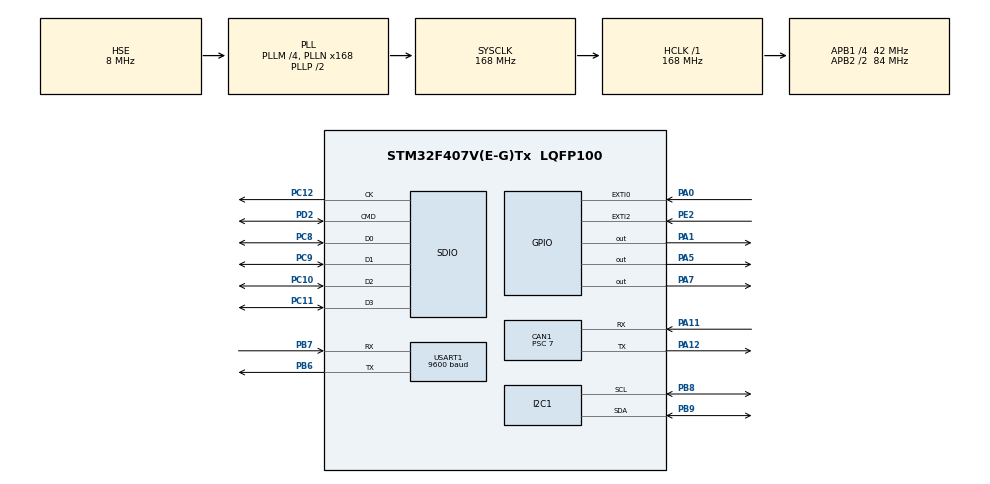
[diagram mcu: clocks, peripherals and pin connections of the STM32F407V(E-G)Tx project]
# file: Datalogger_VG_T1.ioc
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CAN1.BS1=CAN_BS1_5TQ
CAN1.BS2=CAN_BS2_6TQ
CAN1.CalculateBaudRate=500000
CAN1.CalculateTimeBit=1999.99
CAN1.CalculateTimeQuantum=166.66666666666669
CAN1.Prescaler=7
Dma.Request0=SDIO_RX
Dma.Request1=SDIO_TX
Dma.SDIO_RX.0.Direction=DMA_PERIPH_TO_MEMORY
Dma.SDIO_RX.0.FIFOMode=DMA_FIFOMODE_ENABLE
Dma.SDIO_RX.0.FIFOThreshold=DMA_FIFO_THRESHOLD_FULL
Dma.SDIO_RX.0.Instance=DMA2_Stream3
Dma.SDIO_RX.0.MemBurst=DMA_MBURST_INC4
Dma.SDIO_RX.0.MemDataAlignment=DMA_MDATAALIGN_WORD
Dma.SDIO_RX.0.MemInc=DMA_MINC_ENABLE
Dma.SDIO_RX.0.Mode=DMA_PFCTRL
Dma.SDIO_RX.0.PeriphBurst=DMA_PBURST_INC4
Dma.SDIO_RX.0.PeriphDataAlignment=DMA_PDATAALIGN_WORD
Dma.SDIO_RX.0.PeriphInc=DMA_PINC_DISABLE
Dma.SDIO_RX.0.Priority=DMA_PRIORITY_LOW
Dma.SDIO_TX.1.Direction=DMA_MEMORY_TO_PERIPH
Dma.SDIO_TX.1.FIFOMode=DMA_FIFOMODE_ENABLE
Dma.SDIO_TX.1.FIFOThreshold=DMA_FIFO_THRESHOLD_FULL
Dma.SDIO_TX.1.Instance=DMA2_Stream6
Dma.SDIO_TX.1.MemBurst=DMA_MBURST_INC4
Dma.SDIO_TX.1.MemDataAlignment=DMA_MDATAALIGN_WORD
Dma.SDIO_TX.1.MemInc=DMA_MINC_ENABLE
Dma.SDIO_TX.1.Mode=DMA_PFCTRL
Dma.SDIO_TX.1.PeriphBurst=DMA_PBURST_INC4
Dma.SDIO_TX.1.PeriphDataAlignment=DMA_PDATAALIGN_WORD
Dma.SDIO_TX.1.PeriphInc=DMA_PINC_DISABLE
Dma.SDIO_TX.1.Priority=DMA_PRIORITY_LOW
FATFS._MAX_SS=4096
Mcu.Family=STM32F4
Mcu.Name=STM32F407V(E-G)Tx
Mcu.Package=LQFP100
NVIC.CAN1_RX0_IRQn=true\:0\:0\:false\:false\:true\:true\:true
NVIC.DMA2_Stream3_IRQn=true\:0\:0\:false\:false\:true\:false\:true
NVIC.DMA2_Stream6_IRQn=true\:0\:0\:false\:false\:true\:false\:true
NVIC.EXTI0_IRQn=true\:2\:0\:true\:false\:true\:true\:true
NVIC.EXTI2_IRQn=true\:2\:0\:true\:false\:true\:true\:true
NVIC.PriorityGroup=NVIC_PRIORITYGROUP_4
NVIC.RTC_Alarm_IRQn=true\:0\:0\:false\:false\:true\:true\:true
NVIC.SDIO_IRQn=true\:0\:0\:false\:false\:true\:true\:true
NVIC.TIM2_IRQn=true\:0\:0\:false\:false\:true\:true\:true
NVIC.USART1_IRQn=true\:0\:0\:false\:false\:true\:true\:true
PA0-WKUP.GPIO_PuPd=GPIO_PULLUP
PA0-WKUP.Signal=GPXTI0
PA1.Signal=GPIO_Output
PA11.Mode=CAN_Activate
PA11.Signal=CAN1_RX
PA12.Mode=CAN_Activate
PA12.Signal=CAN1_TX
PA5.Signal=GPIO_Output
PA7.Signal=GPIO_Output
PB6.Mode=Asynchronous
PB6.Signal=USART1_TX
PB7.Mode=Asynchronous
PB7.Signal=USART1_RX
PB8.GPIO_Pu=GPIO_PULLUP
PB8.Mode=I2C
PB8.Signal=I2C1_SCL
PB9.GPIO_Pu=GPIO_PULLUP
PB9.Mode=I2C
PB9.Signal=I2C1_SDA
PC10.GPIO_PuPd=GPIO_PULLUP
PC10.Mode=SD_4_bits_Wide_bus
PC10.Signal=SDIO_D2
PC11.GPIO_PuPd=GPIO_PULLUP
PC11.Mode=SD_4_bits_Wide_bus
PC11.Signal=SDIO_D3
PC12.Mode=SD_4_bits_Wide_bus
PC12.Signal=SDIO_CK
PC14-OSC32_IN.Mode=LSE-External-Oscillator
PC14-OSC32_IN.Signal=RCC_OSC32_IN
PC15-OSC32_OUT.Mode=LSE-External-Oscillator
PC15-OSC32_OUT.Signal=RCC_OSC32_OUT
PC8.GPIO_PuPd=GPIO_PULLUP
PC8.Mode=SD_4_bits_Wide_bus
PC8.Signal=SDIO_D0
PC9.GPIO_PuPd=GPIO_PULLUP
PC9.Mode=SD_4_bits_Wide_bus
PC9.Signal=SDIO_D1
PD2.GPIO_PuPd=GPIO_PULLUP
PD2.Mode=SD_4_bits_Wide_bus
PD2.Signal=SDIO_CMD
PE2.GPIO_ModeDefaultEXTI=GPIO_MODE_IT_RISING_FALLING
PE2.GPIO_PuPd=GPIO_PULLUP
PE2.Signal=GPXTI2
PH0-OSC_IN.Mode=HSE-External-Oscillator
PH0-OSC_IN.Signal=RCC_OSC_IN
PH1-OSC_OUT.Mode=HSE-External-Oscillator
PH1-OSC_OUT.Signal=RCC_OSC_OUT
ProjectManager.HeapSize=0x200
ProjectManager.StackSize=0x400
ProjectManager.TargetToolchain=MDK-ARM V5.27
RCC.48MHZClocksFreq_Value=48000000
RCC.AHBFreq_Value=168000000
RCC.APB1CLKDivider=RCC_HCLK_DIV4
RCC.APB1Freq_Value=42000000
RCC.APB1TimFreq_Value=84000000
RCC.APB2CLKDivider=RCC_HCLK_DIV2
RCC.APB2Freq_Value=84000000
RCC.APB2TimFreq_Value=168000000
RCC.CortexFreq_Value=168000000
RCC.HCLKFreq_Value=168000000
RCC.HSE_VALUE=8000000
RCC.HSI_VALUE=16000000
RCC.PLLM=4
RCC.PLLN=168
RCC.PLLQ=7
RCC.PLLSourceVirtual=RCC_PLLSOURCE_HSE
RCC.SYSCLKFreq_VALUE=168000000
RCC.SYSCLKSource=RCC_SYSCLKSOURCE_PLLCLK
RCC.VCOOutputFreq_Value=336000000
RTC.Alarm=RTC_ALARM_A
RTC.Date=20
RTC.Hours=0
RTC.Hours_A=22
RTC.Minutes=0
RTC.Month=RTC_MONTH_MAY
RTC.WeekDay=RTC_WEEKDAY_THURSDAY
RTC.Year=20
TIM2.Period=1000
TIM2.Prescaler=42000
TIM2.TIM_MasterOutputTrigger=TIM_TRGO_UPDATE
USART1.BaudRate=9600
USART1.VirtualMode=VM_ASYNC
VP_FATFS_VS_SDIO.Mode=SDIO
VP_RTC_VS_RTC_Activate.Mode=RTC_Enabled
VP_RTC_VS_RTC_Alarm_A_Intern.Mode=Alarm A
VP_RTC_VS_RTC_Calendar.Mode=RTC_Calendar
VP_TIM2_VS_ClockSourceINT.Mode=Internal
board=custom

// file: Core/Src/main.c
/* USER CODE BEGIN Header */
/**
  ******************************************************************************
  * @file           : main.c
  * @brief          : Main program body
  ******************************************************************************
  * @attention
  *
  * <h2><center>&copy; Copyright (c) 2021 STMicroelectronics.
  * All rights reserved.</center></h2>
  *
  * This software component is licensed by ST under Ultimate Liberty license
  * SLA0044, the "License"; You may not use this file except in compliance with
  * the License. You may obtain a copy of the License at:
  *                             www.st.com/SLA0044
  *
  ******************************************************************************
  */
/* USER CODE END Header */
#include "main.h"
#include "can.h"
#include "dma.h"
#include "fatfs.h"
#include "i2c.h"
#include "rtc.h"
#include "sdio.h"
#include "tim.h"
#include "usart.h"
#include "gpio.h"

/* USER CODE BEGIN Includes */
#include "i2c-lcd.h"
#include "stdio.h"
#include "string.h"

/* USER CODE END Includes */

/* USER CODE BEGIN PV */
RTC_TimeTypeDef sTime;
RTC_DateTypeDef sDate;

char time [5];
char time1[5];
char date[5];
char file_name[] = "DATA123.txt";
char flag[30];

uint8_t Rx_exdata[6];
uint8_t Rx_data[6];
uint8_t Differ[6];
uint8_t buffer[5];
uint8_t count = 0;

_Bool test = 0;
_Bool enable = 1;

FRESULT res;
UINT written;
FILINFO info;
BYTE work[_MAX_SS];

//Tx and Rx structure
static CAN_TxHeaderTypeDef TxMessage;
static CAN_RxHeaderTypeDef RxMessage;

//Rx Txdata
uint8_t TxData[8]={0};
uint32_t TxMailbox;
uint8_t RxData[8]={0};

//address
uint16_t OwnID=0x123;
uint16_t RemoteID =0x0A0;
uint16_t Received_ID;
/* USER CODE END PV */

void SystemClock_Config(void);
/* USER CODE BEGIN PFP */
void CAN_filterConfig(void);
void CAN_Txsetup(void);
/* USER CODE END PFP */

/* USER CODE BEGIN 0 */
void set_time(void);
void display_time(void);
void Rx_shift1(void);

/* USER CODE END 0 */

int main(void)
{

  /* MCU Configuration--------------------------------------------------------*/

  /* Reset of all peripherals, Initializes the Flash interface and the Systick. */
  HAL_Init();

  /* Configure the system clock */
  SystemClock_Config();

  /* Initialize all configured peripherals */
  MX_GPIO_Init();
  MX_DMA_Init();
  MX_I2C1_Init();
  MX_RTC_Init();
  MX_SDIO_SD_Init();
  MX_USART1_UART_Init();
  MX_FATFS_Init();
  MX_TIM2_Init();
  MX_CAN1_Init();
  /* USER CODE BEGIN 2 */

	HAL_TIM_Base_Start_IT(&htim2);

	// SD file set/mount
	/* Mode option 0:Do not mount (delayed mount), 1:Mount immediately */
	res = f_mount(&SDFatFS, (TCHAR const*)SDPath, 0);
	// SD file open
	res = f_open(&SDFile, file_name, FA_WRITE | FA_READ | FA_CREATE_ALWAYS );
	f_close(&SDFile);

	//CAN_filterConfig();
	//CAN_Txsetup();
  /* USER CODE END 2 */

  /* Infinite loop */
  while (1)
  {

    /* USER CODE BEGIN 3 */
		test = !test;
		sprintf((char*)time1, "123");
		res = f_open(&SDFile, file_name, FA_OPEN_APPEND | FA_WRITE | FA_READ );
	  res = f_write(&SDFile, time1 , strlen(time1), &written);
	  f_close(&SDFile);
		HAL_Delay(250);
  }
  /* USER CODE END 3 */
}

void SystemClock_Config(void)
{
  RCC_OscInitTypeDef RCC_OscInitStruct = {0};
  RCC_ClkInitTypeDef RCC_ClkInitStruct = {0};

  /** Configure the main internal regulator output voltage
  */
  __HAL_RCC_PWR_CLK_ENABLE();
  __HAL_PWR_VOLTAGESCALING_CONFIG(PWR_REGULATOR_VOLTAGE_SCALE1);
  /** Initializes the RCC Oscillators according to the specified parameters
  * in the RCC_OscInitTypeDef structure.
  */
  RCC_OscInitStruct.OscillatorType = RCC_OSCILLATORTYPE_LSI|RCC_OSCILLATORTYPE_HSE;
  RCC_OscInitStruct.HSEState = RCC_HSE_ON;
  RCC_OscInitStruct.LSIState = RCC_LSI_ON;
  RCC_OscInitStruct.PLL.PLLState = RCC_PLL_ON;
  RCC_OscInitStruct.PLL.PLLSource = RCC_PLLSOURCE_HSE;
  RCC_OscInitStruct.PLL.PLLM = 4;
  RCC_OscInitStruct.PLL.PLLN = 168;
  RCC_OscInitStruct.PLL.PLLP = RCC_PLLP_DIV2;
  RCC_OscInitStruct.PLL.PLLQ = 7;
  if (HAL_RCC_OscConfig(&RCC_OscInitStruct) != HAL_OK)
  {
    Error_Handler();
  }
  /** Initializes the CPU, AHB and APB buses clocks
  */
  RCC_ClkInitStruct.ClockType = RCC_CLOCKTYPE_HCLK|RCC_CLOCKTYPE_SYSCLK
                              |RCC_CLOCKTYPE_PCLK1|RCC_CLOCKTYPE_PCLK2;
  RCC_ClkInitStruct.SYSCLKSource = RCC_SYSCLKSOURCE_PLLCLK;
  RCC_ClkInitStruct.AHBCLKDivider = RCC_SYSCLK_DIV1;
  RCC_ClkInitStruct.APB1CLKDivider = RCC_HCLK_DIV4;
  RCC_ClkInitStruct.APB2CLKDivider = RCC_HCLK_DIV2;

  if (HAL_RCC_ClockConfig(&RCC_ClkInitStruct, FLASH_LATENCY_5) != HAL_OK)
  {
    Error_Handler();
  }
}

/* USER CODE BEGIN 4 */

void CAN_filterConfig(void){
	CAN_FilterTypeDef filterConfig;

	filterConfig.FilterBank=0;
	filterConfig.FilterActivation=ENABLE;
	filterConfig.FilterFIFOAssignment=CAN_RX_FIFO0;
	filterConfig.FilterIdHigh=0x0000;
	filterConfig.FilterIdLow=0x0000;
	filterConfig.FilterMaskIdHigh=0x0000;
	filterConfig.FilterMaskIdLow=0x0000;
	filterConfig.FilterMode=CAN_FILTERMODE_IDMASK;
	filterConfig.FilterScale= CAN_FILTERSCALE_32BIT;
	filterConfig.SlaveStartFilterBank=14;

	if(HAL_CAN_ConfigFilter(&hcan1,&filterConfig)!=HAL_OK){
		Error_Handler();
	}

	if(HAL_CAN_ActivateNotification(&hcan1,CAN_IT_RX_FIFO0_MSG_PENDING)){
		Error_Handler();
	}		//enable interrupt

}
void CAN_Txsetup(){
		if(HAL_CAN_Start(&hcan1)!=HAL_OK){
		Error_Handler();
		}

		TxMessage.StdId=RemoteID;
		TxMessage.ExtId=0x01;
		TxMessage.RTR=CAN_RTR_DATA;
		TxMessage.IDE=CAN_ID_STD;
		TxMessage.DLC=2;
		TxMessage.TransmitGlobalTime=DISABLE;   //time trigger must be turned ON

		TxData[0]=0xAC;
		TxData[1]=0x01;
		HAL_GPIO_WritePin(GPIOA,GPIO_PIN_6,GPIO_PIN_SET);
}

void HAL_CAN_RxFifo0MsgPendingCallback(CAN_HandleTypeDef *hcan){
	if(HAL_CAN_GetRxMessage(hcan,CAN_RX_FIFO0,&RxMessage,RxData)!=HAL_OK){
		Error_Handler();
	}
	Received_ID=RxMessage.StdId;
	HAL_GPIO_TogglePin(GPIOA,GPIO_PIN_1);
}

void set_time(void)
{
  /** Initialize RTC and set the Time and Date
  */
  sTime.Hours = 0x10;
  sTime.Minutes = 0x2;
  sTime.Seconds = 0x0;
  sTime.DayLightSaving = RTC_DAYLIGHTSAVING_NONE;
  sTime.StoreOperation = RTC_STOREOPERATION_RESET;
  if (HAL_RTC_SetTime(&hrtc, &sTime, RTC_FORMAT_BCD) != HAL_OK)
  {
    Error_Handler();
  }
  sDate.WeekDay = RTC_WEEKDAY_THURSDAY;
  sDate.Month = RTC_MONTH_AUGUST;
  sDate.Date = 0x20;
  sDate.Year = 0x21;

  if (HAL_RTC_SetDate(&hrtc, &sDate, RTC_FORMAT_BCD) != HAL_OK)
  {
    Error_Handler();
  }

	//Backup the time & date into any register
	HAL_RTCEx_BKUPWrite(&hrtc, RTC_BKP_DR1, 0x32F0);
}

//Display current time on the i2c-lcd(16-Bit)
void display_time(void)
{
	//First Row
	lcd_send_cmd(0x80);
	lcd_send_string(time);
	//Second Row
	lcd_send_cmd(0xc0);
	lcd_send_string(date);
}

//Rx_exdata Shift Function 1
void Rx_shift1(void)
{
	Differ[0] = abs(Rx_data[0] - buffer[0]);
	Differ[1] = abs(Rx_data[1] - buffer[1]);
	Differ[2] = abs(Rx_data[2] - buffer[2]);
}

//GPIO EXTI
void HAL_GPIO_EXTI_Callback(uint16_t GPIO_Pin)
{
  /* Prevent unused argument(s) compilation warning */
  UNUSED(GPIO_Pin);
  /* NOTE: This function Should not be modified, when the callback is needed,
           the HAL_GPIO_EXTI_Callback could be implemented in the user file
   */
	if(GPIO_Pin == GPIO_PIN_2)
	{
		if(HAL_GPIO_ReadPin(GPIOE,GPIO_PIN_2)  ==GPIO_PIN_RESET)
		{
			enable = 1;
			sprintf((char*)flag, "%d---------------\n", count);
			res = f_open(&SDFile, file_name, FA_OPEN_APPEND | FA_WRITE | FA_READ );
	    res = f_write(&SDFile, flag , strlen(flag), &written);
	    f_close(&SDFile);

			HAL_Delay(20);
			HAL_GPIO_WritePin(GPIOA,GPIO_PIN_5,GPIO_PIN_SET);
			++count;
		}
		else
		{
			enable = 0;

			HAL_GPIO_WritePin(GPIOA,GPIO_PIN_5,GPIO_PIN_RESET);
		}
	}

}

void HAL_TIM_PeriodElapsedCallback(TIM_HandleTypeDef *htim)
{
  /* Prevent unused argument(s) compilation warning */
  UNUSED(htim);

  /* NOTE : This function should not be modified, when the callback is needed,
            the HAL_TIM_PeriodElapsedCallback could be implemented in the user file
   */
	if(1)
	{
		test = !test;

	  sprintf((char*)time1, "%02d:%02d:%02d\n", Rx_data[0], Rx_data[1], Rx_data[2]);
		//Print Data into SD Card

	  res = f_open(&SDFile, file_name, FA_OPEN_APPEND | FA_WRITE | FA_READ );
	  res = f_write(&SDFile, time1 , strlen(time1), &written);
	  f_close(&SDFile);

	}
}

/*
	test = !test;
	if(GPIO_Pin==GPIO_PIN_2)
	{
		if(HAL_GPIO_ReadPin(GPIOE,GPIO_PIN_2)==GPIO_PIN_RESET)
		{
			HAL_Delay(20);
			HAL_GPIO_WritePin(GPIOA,GPIO_PIN_5,GPIO_PIN_SET);

			sprintf((char*)time1, "%02d:%02d:%02d\n", Rx_data[0], Rx_data[1], Rx_data[2]);
		  //Print Data into SD Card
		  res = f_open(&SDFile, file_name, FA_OPEN_APPEND | FA_WRITE | FA_READ );
		  res = f_write(&SDFile, time1 , strlen(time1), &written);
		  f_close(&SDFile);

		}
		else
		{
			HAL_GPIO_WritePin(GPIOA,GPIO_PIN_5,GPIO_PIN_RESET);
		}
	}
	*/
/* USER CODE END 4 */

void Error_Handler(void)
{
  __disable_irq();
  while (1)
  {
  }
}

/************************ (C) COPYRIGHT STMicroelectronics *****END OF FILE****/
